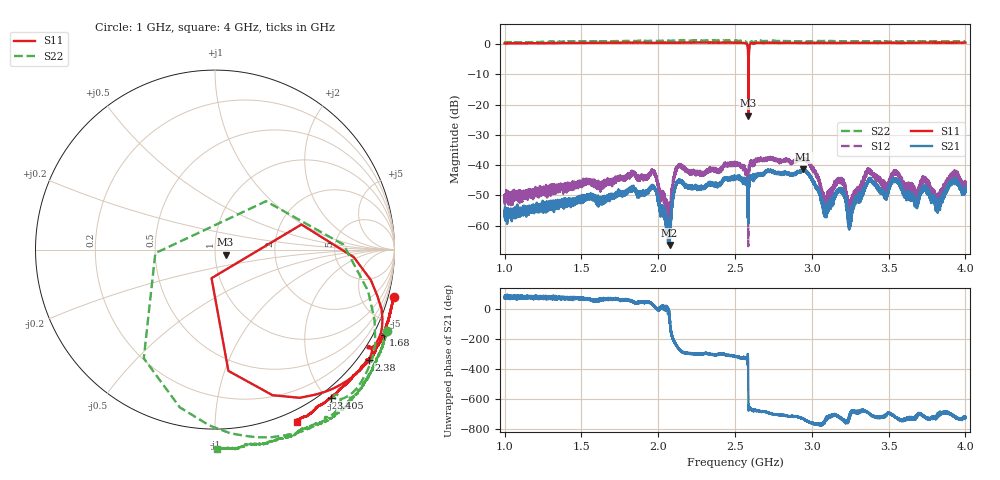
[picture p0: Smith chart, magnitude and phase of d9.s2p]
!Agilent Technologies,N5230C,SG49000117,A.08.50.07
!Agilent N5230C: A.08.50.07
!Date: Monday, May 20, 2024 20:09:11
!Correction: S11(Full 2 Port(1,2))
!S21(Full 2 Port(1,2))
!S12(Full 2 Port(1,2))
!S22(Full 2 Port(1,2))
!S2P File: Measurements: S11, S21, S12, S22:
# Hz S  MA  R 50
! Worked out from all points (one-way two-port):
!   20001 points, 1 GHz to 4 GHz, reference 50 ohm
!   highest |S21| = -41.38 dB at 2.946 GHz (marker M1); lowest = -66.3 dB at 2.074 GHz (marker M2)
!   lowest |S11| = -23.7 dB at 2.588 GHz (marker M3), VSWR 1.14, Z = 56.2 - j3.24 ohm
!   |S11| at or under -10 dB: 2.586828 GHz to 2.588588 GHz (1.76 MHz wide, 0.068 % of centre)
!   |S22| runs from -13.6 to 1.2 dB; largest |S21 - S12| = 0.0078
!   S11 on the Smith chart (normalised r, x): 1 GHz: -0.87, -7.50; 1.68 GHz: -0.47, -4.15; 2.38 GHz: -0.29, -3.10; 3.405 GHz: -0.12, -2.04; 4 GHz: -0.10, -1.58
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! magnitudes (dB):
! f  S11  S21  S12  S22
! 1 GHz  0.3  -55.6  -51.2  0.5
! 1.5 GHz  0.4  -50.7  -46.8  0.8
! 1.68 GHz  0.4  -51.2  -44.9  1.0
! 1.966 GHz  0.5  -46.9  -41.5  1.0
! 2 GHz  0.4  -51.5  -46.5  0.9
! 2.074 GHz  0.4  -66.3  -57.1  1.0
! 2.131 GHz  0.4  -45.1  -40.3  1.1
! 2.38 GHz  0.5  -46.7  -41.5  1.2
! 2.5 GHz  0.4  -44.6  -39.5  1.1
! 2.588 GHz  -23.7  -45.4  -44.6  -12.4
! 2.946 GHz  0.4  -41.4  -38.1  0.9
! 3 GHz  0.4  -44.5  -40.1  1.0
! 3.086 GHz  0.4  -56.0  -52.1  1.0
! 3.187 GHz  0.4  -48.2  -45.0  0.9
! 3.246 GHz  0.4  -59.8  -54.6  0.9
! 3.405 GHz  0.4  -46.0  -43.1  0.9
! 3.5 GHz  0.4  -48.4  -46.2  0.8
! 3.681 GHz  0.4  -52.5  -49.9  0.9
! 3.733 GHz  0.5  -47.4  -45.0  0.9
! 3.815 GHz  0.5  -52.7  -50.5  0.9
! 3.927 GHz  0.5  -45.7  -42.1  0.9
! 4 GHz  0.5  -48.9  -46.1  0.9
